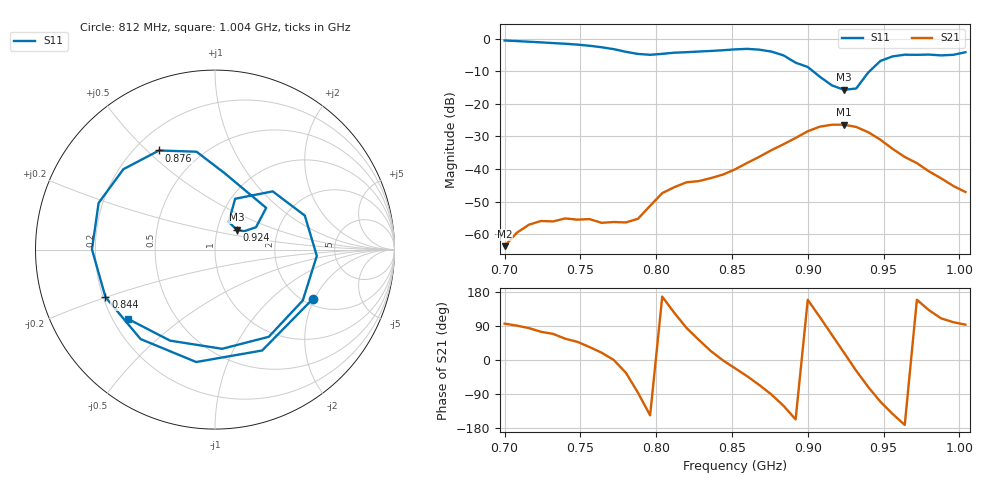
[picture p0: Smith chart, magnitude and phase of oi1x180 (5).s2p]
# Hz S RI R 50
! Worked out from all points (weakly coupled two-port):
!   39 points, 700 MHz to 1.004 GHz, reference 50 ohm
!   highest |S21| = -26.42 dB at 924 MHz (marker M1); lowest = -63.7 dB at 700 MHz (marker M2)
!   lowest |S11| = -15.7 dB at 924 MHz (marker M3), VSWR 1.39, Z = 62 + j14.1 ohm
!   |S11| at or under -10 dB: 903.5 MHz to 940.7 MHz (37.24 MHz wide, 4.04 % of centre)
!   S12 and S22 are empty: the file has one direction only
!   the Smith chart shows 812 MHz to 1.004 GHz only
!   S11 on the Smith chart (normalised r, x): 812 MHz: 2.22, -1.94; 844 MHz: 0.21, -0.20; 876 MHz: 0.30, +0.55; 924 MHz: 1.24, +0.28; 1.004 GHz: 0.26, -0.33
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7e8  0.7568 0.5575  -6.75e-05 0.000649  0 0  0 0
7.24e8  0.8443 -0.2423  0.000426 0.00153  0 0  0 0
7.4e8  0.4607 -0.6979  0.000968 0.00144  0 0  0 0
7.56e8  -0.1888 -0.7565  0.0014 0.000955  0 0  0 0
7.72e8  -0.6609 -0.2028  0.00153 2.88e-06  0 0  0 0
7.8e8  -0.5903 0.2188  0.00126 -0.000834  0 0  0 0
7.88e8  -0.2468 0.5289  0.000108 -0.00172  0 0  0 0
7.96e8  0.2339 0.5154  -0.00225 -0.00152  0 0  0 0
8.04e8  0.5594 0.1723  -0.00415 0.000943  0 0  0 0
8.12e8  0.5448 -0.275  -0.00295 0.00434  0 0  0 0
8.28e8  -0.1049 -0.6264  0.00386 0.00523  0 0  0 0
8.44e8  -0.6103 -0.2645  0.00819 -0.000117  0 0  0 0
8.52e8  -0.6855 0.00116  0.00914 -0.00365  0 0  0 0
8.76e8  -0.3118 0.5522  -0.000305 -0.0194  0 0  0 0
9e8  0.2853 0.2323  -0.0354 0.0137  0 0  0 0
9.08e8  0.2284 0.1246  -0.0176 0.0411  0 0  0 0
9.24e8  0.121 0.1108  0.0452 0.0155  0 0  0 0
9.4e8  0.1123 0.2832  0.0114 -0.0347  0 0  0 0
9.56e8  0.5005 0.1894  -0.0161 -0.0124  0 0  0 0
9.64e8  0.5672 -0.0351  -0.0151 -0.00228  0 0  0 0
9.8e8  0.2997 -0.4858  -0.00606 0.00689  0 0  0 0
1.004e9  -0.485 -0.3858  -0.000253 0.00442  0 0  0 0
